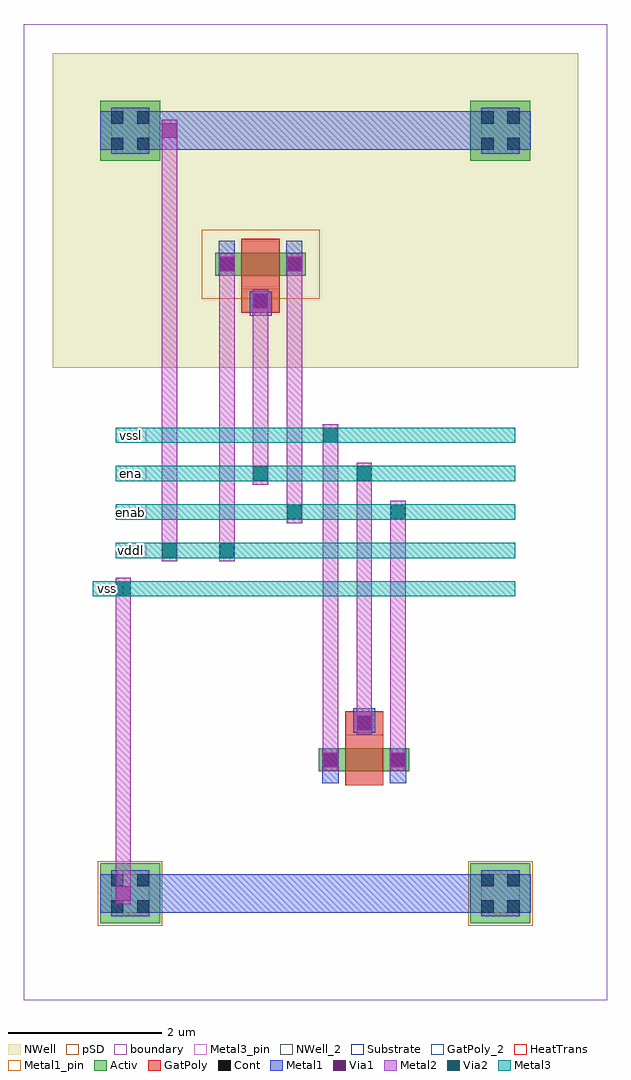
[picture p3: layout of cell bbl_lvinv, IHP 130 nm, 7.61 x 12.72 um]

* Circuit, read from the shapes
.subckt bbl_lvinv ena enab vddl vss vssl
XM1 enab ena vssl vss sg13_lv_nmos w=0.3u l=0.5u
XM2 enab ena vddl vddl sg13_lv_pmos w=0.3u l=0.5u
.ends

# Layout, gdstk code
import gdstk
lib = gdstk.Library(unit=1e-6, precision=1e-09)
def R(c, l, rs):  # rectangles x0, y0, x1, y1
    for r in rs: c.add(gdstk.rectangle(r[:2], r[2:], *l))
def A(c, l, x, y, w, h, nx, ny, dx, dy):  # array of equal rectangles
    R(c, l, [(x+i*dx, y+j*dy, x+i*dx+w, y+j*dy+h) for i in range(nx) for j in range(ny)])
Activ = (1, 0)
GatPoly = (5, 0)
GatPoly_2 = (5, 2)
Cont = (6, 0)
Metal1 = (8, 0)
Metal1_pin = (8, 2)
Metal2 = (10, 0)
pSD = (14, 0)
Via1 = (19, 0)
Via2 = (29, 0)
Metal3 = (30, 0)
Metal3_pin = (30, 2)
NWell = (31, 0)
NWell_2 = (31, 2)
Substrate = (40, 0)
HeatTrans = (51, 0)
boundary = (189, 4)

pmos = lib.new_cell('pmos')
R(pmos, Activ, [(0,0,0.3,0.3), (0,0,1.18,0.3), (0.88,0,1.18,0.3)])
R(pmos, GatPoly, [(0.34,-0.18,0.84,0.48), (0.34,-0.18,0.84,0.48)])
R(pmos, Cont, [(0.07,0.07,0.23,0.23), (0.95,0.07,1.11,0.23)])
R(pmos, Metal1, [(0.07,0,0.23,0.3), (0.07,0,0.23,0.3), (0.95,0,1.11,0.3), (0.95,0,1.11,0.3)])
R(pmos, pSD, [(-0.18,-0.3,1.36,0.6)])
R(pmos, NWell, [(-0.31,-0.31,1.49,0.61)])
R(pmos, HeatTrans, [(0.34,-0.18,0.84,0.48)])
pmos.add(gdstk.Label('pmos', (0.59,0.15), layer=63, texttype=0))
pmos.add(gdstk.Label('pmos', (0.59,0.15), layer=51, texttype=0))

nmos = lib.new_cell('nmos')
R(nmos, Activ, [(0,0,0.3,0.3), (0,0,1.18,0.3), (0.88,0,1.18,0.3)])
R(nmos, GatPoly, [(0.34,-0.18,0.84,0.48)])
R(nmos, GatPoly_2, [(0.34,-0.18,0.84,0.48)])
R(nmos, Cont, [(0.07,0.07,0.23,0.23), (0.95,0.07,1.11,0.23)])
R(nmos, Metal1, [(0.07,0,0.23,0.3), (0.95,0,1.11,0.3)])
R(nmos, Metal1_pin, [(0.07,0,0.23,0.3), (0.95,0,1.11,0.3)])
R(nmos, HeatTrans, [(0.34,-0.18,0.84,0.48)])
nmos.add(gdstk.Label('nmos', (0.59,0.15), layer=63, texttype=0))
nmos.add(gdstk.Label('nmos', (0.59,0.15), layer=51, texttype=0))

ptap1 = lib.new_cell('ptap1')
R(ptap1, Activ, [(0,0,0.78,0.78)])
R(ptap1, Cont, [(0.14,0.14,0.3,0.3), (0.48,0.14,0.64,0.3), (0.14,0.48,0.3,0.64), (0.48,0.48,0.64,0.64)])
R(ptap1, Metal1, [(0.14,0.09,0.64,0.69), (0.14,0.14,0.64,0.64)])
R(ptap1, Metal1_pin, [(0.14,0.14,0.64,0.64)])
R(ptap1, pSD, [(-0.03,-0.03,0.81,0.81)])
R(ptap1, Substrate, [(0,0,0.78,0.78)])
ptap1.add(gdstk.Label('sub!', (0.39,0.01), layer=63, texttype=0))
ptap1.add(gdstk.Label('sub!', (0.39,0.01), layer=40, texttype=0))

ntap1 = lib.new_cell('ntap1')
R(ntap1, Activ, [(0,0,0.78,0.78)])
R(ntap1, Cont, [(0.14,0.14,0.3,0.3), (0.48,0.14,0.64,0.3), (0.14,0.48,0.3,0.64), (0.48,0.48,0.64,0.64)])
R(ntap1, Metal1, [(0.14,0.09,0.64,0.69)])
R(ntap1, Metal1_pin, [(0.14,0.09,0.64,0.69), (0.14,0.14,0.64,0.64)])
R(ntap1, NWell, [(-0.24,-0.24,1.02,1.02), (0,0,0.78,0.78)])
R(ntap1, NWell_2, [(0,0,0.78,0.78)])
ntap1.add(gdstk.Label('well', (0.39,0.01), layer=31, texttype=0))
ntap1.add(gdstk.Label('well', (0.39,0.01), layer=63, texttype=0))

bbl_lvinv = lib.new_cell('bbl_lvinv')
R(bbl_lvinv, GatPoly, [(3.19,2.35,3.69,2.76), (1.84,7.96,2.34,8.37)])
R(bbl_lvinv, Cont, [(3.36,2.53,3.52,2.69), (2.01,8.03,2.17,8.19)])
R(bbl_lvinv, Metal1, [(0,0.14,5.61,0.64), (2.895,1.825,3.105,2.275), (3.775,1.825,3.985,2.275), (3.295,2.48,3.585,2.8), (1.945,7.92,2.235,8.24), (1.545,8.445,1.755,8.895), (2.425,8.445,2.635,8.895), (0,10.08,5.61,10.58)])
R(bbl_lvinv, Metal2, [(0.2,0.245,0.4,4.505), (2.9,1.985,3.1,6.505), (3.78,1.985,3.98,5.505), (3.34,2.465,3.54,6.005), (0.8,4.715,1,10.475), (1.55,4.715,1.75,8.735), (2.43,5.215,2.63,8.735), (1.99,5.715,2.19,8.255)])
R(bbl_lvinv, Via1, [(0.205,0.295,0.395,0.485), (2.905,2.035,3.095,2.225), (3.785,2.035,3.975,2.225), (3.345,2.515,3.535,2.705), (1.995,8.015,2.185,8.205), (1.555,8.495,1.745,8.685), (2.435,8.495,2.625,8.685), (0.805,10.235,0.995,10.425)])
R(bbl_lvinv, Via2, [(0.205,4.265,0.395,4.455), (0.805,4.765,0.995,4.955), (1.555,4.765,1.745,4.955), (2.435,5.265,2.625,5.455), (3.785,5.265,3.975,5.455), (1.995,5.765,2.185,5.955), (3.345,5.765,3.535,5.955), (2.905,6.265,3.095,6.455)])
A(bbl_lvinv, Metal3, 0.2, 4.76, 5.21, 0.2, 1, 4, 0, 0.5)
R(bbl_lvinv, Metal3, [(-0.1,4.26,5.41,4.46)])
A(bbl_lvinv, Metal3_pin, 0.2, 4.76, 0.4, 0.2, 1, 4, 0, 0.5)
R(bbl_lvinv, Metal3_pin, [(-0.1,4.26,0.3,4.46)])
R(bbl_lvinv, NWell, [(-0.62,7.24,6.23,11.34)])
R(bbl_lvinv, boundary, [(-1,-1,6.61,11.72)])
bbl_lvinv.add(gdstk.Reference(pmos, (1.5,8.74), x_reflection=True))
bbl_lvinv.add(gdstk.Reference(nmos, (2.85,1.98)))
bbl_lvinv.add(gdstk.Reference(ptap1, (0,0)))
bbl_lvinv.add(gdstk.Reference(ptap1, (4.825,0)))
bbl_lvinv.add(gdstk.Reference(ntap1, (0,9.94)))
bbl_lvinv.add(gdstk.Reference(ntap1, (4.825,9.94)))
bbl_lvinv.add(gdstk.Label('vddl', (0.4,4.86), layer=30, texttype=25))
bbl_lvinv.add(gdstk.Label('enab', (0.4,5.36), layer=30, texttype=25))
bbl_lvinv.add(gdstk.Label('ena', (0.4,5.86), layer=30, texttype=25))
bbl_lvinv.add(gdstk.Label('vssl', (0.4,6.36), layer=30, texttype=25))
bbl_lvinv.add(gdstk.Label('vss', (0.1,4.36), layer=30, texttype=25))

lib.write_gds('bbl_lvinv.gds')
